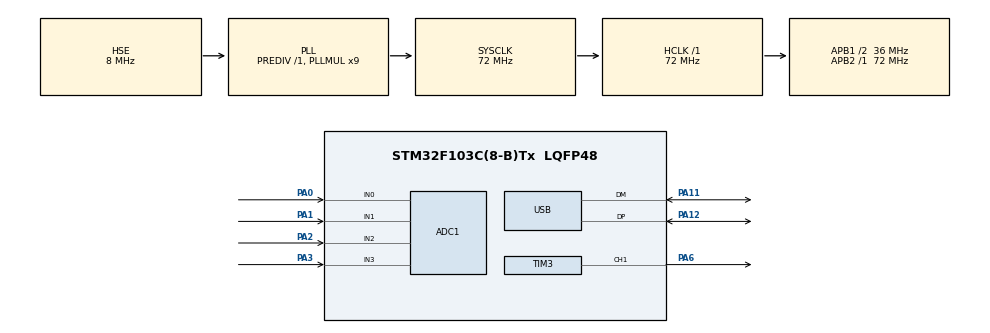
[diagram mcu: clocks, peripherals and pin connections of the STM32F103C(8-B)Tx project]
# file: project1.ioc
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ADC1.Channel-1\#ChannelRegularConversion=ADC_CHANNEL_0
ADC1.Channel-2\#ChannelRegularConversion=ADC_CHANNEL_0
ADC1.Channel-3\#ChannelRegularConversion=ADC_CHANNEL_0
ADC1.ContinuousConvMode=ENABLE
ADC1.DataAlign=ADC_DATAALIGN_RIGHT
ADC1.NbrOfConversion=4
ADC1.NbrOfConversionFlag=1
ADC1.Rank-1\#ChannelRegularConversion=2
ADC1.Rank-2\#ChannelRegularConversion=3
ADC1.Rank-3\#ChannelRegularConversion=4
ADC1.SamplingTime-1\#ChannelRegularConversion=ADC_SAMPLETIME_1CYCLE_5
ADC1.SamplingTime-2\#ChannelRegularConversion=ADC_SAMPLETIME_1CYCLE_5
ADC1.SamplingTime-3\#ChannelRegularConversion=ADC_SAMPLETIME_1CYCLE_5
ADC1.master=1
Dma.ADC1.0.Direction=DMA_PERIPH_TO_MEMORY
Dma.ADC1.0.Instance=DMA1_Channel1
Dma.ADC1.0.MemDataAlignment=DMA_MDATAALIGN_HALFWORD
Dma.ADC1.0.MemInc=DMA_MINC_ENABLE
Dma.ADC1.0.Mode=DMA_CIRCULAR
Dma.ADC1.0.PeriphDataAlignment=DMA_PDATAALIGN_HALFWORD
Dma.ADC1.0.PeriphInc=DMA_PINC_DISABLE
Dma.ADC1.0.Priority=DMA_PRIORITY_LOW
Dma.Request0=ADC1
Dma.Request1=TIM3_CH1/TRIG
Dma.TIM3_CH1/TRIG.1.Direction=DMA_PERIPH_TO_MEMORY
Dma.TIM3_CH1/TRIG.1.Instance=DMA1_Channel6
Dma.TIM3_CH1/TRIG.1.MemDataAlignment=DMA_MDATAALIGN_HALFWORD
Dma.TIM3_CH1/TRIG.1.MemInc=DMA_MINC_ENABLE
Dma.TIM3_CH1/TRIG.1.Mode=DMA_CIRCULAR
Dma.TIM3_CH1/TRIG.1.PeriphDataAlignment=DMA_PDATAALIGN_HALFWORD
Dma.TIM3_CH1/TRIG.1.PeriphInc=DMA_PINC_DISABLE
Dma.TIM3_CH1/TRIG.1.Priority=DMA_PRIORITY_LOW
Mcu.Family=STM32F1
Mcu.Name=STM32F103C(8-B)Tx
Mcu.Package=LQFP48
NVIC.DMA1_Channel1_IRQn=true\:0\:0\:false\:false\:true\:false\:true\:true
NVIC.DMA1_Channel6_IRQn=true\:0\:0\:false\:false\:true\:false\:true\:true
NVIC.PriorityGroup=NVIC_PRIORITYGROUP_4
NVIC.USB_LP_CAN1_RX0_IRQn=true\:0\:0\:false\:false\:true\:false\:true\:true
PA0-WKUP.Signal=ADCx_IN0
PA1.Signal=ADCx_IN1
PA11.Mode=Device
PA11.Signal=USB_DM
PA12.Mode=Device
PA12.Signal=USB_DP
PA13.Mode=Serial_Wire
PA13.Signal=SYS_JTMS-SWDIO
PA14.Mode=Serial_Wire
PA14.Signal=SYS_JTCK-SWCLK
PA2.Signal=ADCx_IN2
PA3.Signal=ADCx_IN3
PA6.Signal=S_TIM3_CH1
PD0-OSC_IN.Mode=HSE-External-Oscillator
PD0-OSC_IN.Signal=RCC_OSC_IN
PD1-OSC_OUT.Mode=HSE-External-Oscillator
PD1-OSC_OUT.Signal=RCC_OSC_OUT
ProjectManager.HeapSize=0x200
ProjectManager.StackSize=0x400
ProjectManager.TargetToolchain=MDK-ARM V5.32
RCC.ADCPresc=RCC_ADCPCLK2_DIV6
RCC.AHBFreq_Value=72000000
RCC.APB1CLKDivider=RCC_HCLK_DIV2
RCC.APB1Freq_Value=36000000
RCC.APB1TimFreq_Value=72000000
RCC.APB2Freq_Value=72000000
RCC.APB2TimFreq_Value=72000000
RCC.HCLKFreq_Value=72000000
RCC.PLLMUL=RCC_PLL_MUL9
RCC.PLLSourceVirtual=RCC_PLLSOURCE_HSE
RCC.SYSCLKFreq_VALUE=72000000
RCC.SYSCLKSource=RCC_SYSCLKSOURCE_PLLCLK
RCC.USBFreq_Value=48000000
RCC.USBPrescaler=RCC_USBCLKSOURCE_PLL_DIV1_5
SH.ADCx_IN0.0=ADC1_IN0,IN0
SH.ADCx_IN1.0=ADC1_IN1,IN1
SH.ADCx_IN2.0=ADC1_IN2,IN2
SH.ADCx_IN3.0=ADC1_IN3,IN3
SH.S_TIM3_CH1.0=TIM3_CH1,PWM Generation1 CH1
TIM3.Channel-PWM\ Generation1\ CH1=TIM_CHANNEL_1
TIM3.Period=255
USB_DEVICE.CLASS_NAME_FS=CDC
USB_DEVICE.VirtualMode=Cdc
USB_DEVICE.VirtualModeFS=Cdc_FS
VP_USB_DEVICE_VS_USB_DEVICE_CDC_FS.Mode=CDC_FS
board=custom

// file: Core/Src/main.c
/* USER CODE BEGIN Header */
/**
  ******************************************************************************
  * @file           : main.c
  * @brief          : Main program body
  ******************************************************************************
  * @attention
  *
  * Copyright (c) 2026 STMicroelectronics.
  * All rights reserved.
  *
  * This software is licensed under terms that can be found in the LICENSE file
  * in the root directory of this software component.
  * If no LICENSE file comes with this software, it is provided AS-IS.
  *
  ******************************************************************************
  */
/* USER CODE END Header */
#include "main.h"
#include "usb_device.h"

/* USER CODE BEGIN Includes */
#include "usbd_cdc_if.h"
#include <math.h>

#ifndef M_PI
#define M_PI 3.14159265358979323846f
#endif

/* USER CODE END Includes */

/* USER CODE BEGIN PTD */
extern TIM_HandleTypeDef htim3;
extern ADC_HandleTypeDef hadc1;

#define ADC_SAMPLES_PER_CH 50
#define TOTAL_ADC_BUFFER (ADC_SAMPLES_PER_CH * 4)
#define WAVE_POINTS 100

// 馃煝 淇锛欰DC鏄?2浣嶇殑锛岀‖楂?DMA 鎼亱蹇呴爤鐢?uint16_t 鎺ユ敹锛岄槻姝㈣鎲堕珨韪╄笍婧㈠嚭锛?
uint16_t adc_buffer[TOTAL_ADC_BUFFER];

// PWM DMA 娉㈠舰绶╄鍗€
uint16_t pwm_wave_buffer[WAVE_POINTS];

// USB 鐧奸€佽▕妗嗙珐琛濆崁 (瑷婃闋?浣嶅厓绲?+ 闀峰害2浣嶅厓绲?+ 鏁告摎)
uint8_t usb_tx_buffer[(TOTAL_ADC_BUFFER * 2) + 5];
volatile uint8_t data_ready_flag = 0; // 馃煝 淇锛氬姞涓?volatile 纰轰繚涓柗鑸囦富寰挵鍚屾

/* USER CODE END PTD */

/* USER CODE BEGIN PD */
// 鈿?鏍稿績鍔熻兘 1锛氭牴鎹笂浣嶆満鎸囦护锛屽姩鎬佽绠楀苟鏇存柊 PWM DMA 鏁扮粍
void Setup_Waveform(uint8_t wave_type, uint16_t freq, uint8_t vpp) {
    float amplitude = vpp / 2.0f; // Vpp 鏄?0-255锛屽搴?0-3.3V
    float offset = 127.5f;        // 1.65V 鐩存祦鍋忕疆涓績鐐?

    // 馃煝 鏍稿績淇锛氫慨姝ｉ鐜囧叕寮忓苟闃叉鏁村瀷涓嬫孩锛?
    // 鐞嗚鍊? PSC + 1 = 72MHz / (256 * 100鐐? / freq = 2812.5 / freq
    uint32_t psc = 0;
    uint32_t target_hz = (freq > 0) ? freq : 1;
    uint32_t calc_psc = 2812 / target_hz;

    if (calc_psc > 0) {
        psc = calc_psc - 1;
    } else {
        psc = 0; // 棰戠巼杩囬珮鏃讹紝灏嗗叾闄愬埗鍦ㄧ‖浠惰兘杈撳嚭鐨勬渶楂橀鐜囷紙绾?.8kHz锛?
    }

    if (psc > 65535) psc = 65535;

    __HAL_TIM_SET_PRESCALER(&htim3, psc);
    htim3.Instance->EGR = TIM_EGR_UG; // 馃煝 鍏抽敭锛氬己鍒朵骇鐢熸洿鏂颁簨浠讹紝璁╂柊鐨勫垎棰戠郴鏁扮珛鍒荤敓鏁堬紝閬垮厤鍗℃

    for (int i = 0; i < WAVE_POINTS; i++) {
        float t = (float)i / WAVE_POINTS;
        float val = 0;

        switch (wave_type) {
            case 0: // 姝ｅ鸡娉?
                val = offset + amplitude * sin(2 * M_PI * t);
                break;
            case 1: // 鏂规尝
                val = offset + amplitude * (t < 0.5f ? 1.0f : -1.0f);
                break;
            case 2: // 涓夎娉?
                val = offset + amplitude * (2.0f * fabs(2.0f * t - 1.0f) - 1.0f);
                break;
            case 3: // 閿娇娉?
                val = offset + amplitude * (2.0f * t - 1.0f);
                break;
            default: // 榛樿鐩存祦
                val = offset;
        }

        // 闄愬埗鍦?0-255 (瀵瑰簲 TIM3 鐨?CCR 鍊?
        if(val > 255) val = 255;
        if(val < 0) val = 0;
        pwm_wave_buffer[i] = (uint16_t)val;
    }
}

// 鈿?鏍稿績鍔熻兘 2锛欰DC DMA 閲囬泦瀹屾垚涓柇鍥炶皟 (鎵撳寘鍙戠粰涓婁綅鏈?
void HAL_ADC_ConvCpltCallback(ADC_HandleTypeDef* hadc) {
    if (hadc->Instance == ADC1) {
        data_ready_flag = 1; // 鏍囧織浣嶇疆 1锛岃涓诲惊鐜鐞?
    }
}
/* USER CODE END PD */

ADC_HandleTypeDef hadc1;
DMA_HandleTypeDef hdma_adc1;

TIM_HandleTypeDef htim3;
DMA_HandleTypeDef hdma_tim3_ch1_trig;

void SystemClock_Config(void);
static void MX_GPIO_Init(void);
static void MX_DMA_Init(void);
static void MX_ADC1_Init(void);
static void MX_TIM3_Init(void);

int main(void)
{

  /* MCU Configuration--------------------------------------------------------*/

  /* Reset of all peripherals, Initializes the Flash interface and the Systick. */
  HAL_Init();

  /* Configure the system clock */
  SystemClock_Config();

  /* Initialize all configured peripherals */
  MX_GPIO_Init();
  MX_DMA_Init();
  MX_ADC1_Init();
  MX_TIM3_Init();
  MX_USB_DEVICE_Init();
  /* USER CODE BEGIN 2 */
  // 1. 鍟熷嫊闋愯ō娉㈠舰
  Setup_Waveform(0, 1000, 255);
 // 馃煝 鏀逛负锛氬惎鍔ㄦ爣鍑嗙殑纭欢 PWM 杈撳嚭
  HAL_TIM_PWM_Start(&htim3, TIM_CHANNEL_1);

  // 馃煝 鏀逛负锛氭墜鍔ㄥ紑鍚?TIM3 鐨勫叏灞€涓柇鍜?NVIC锛堣繖鏍蜂綘涓嶉渶瑕侀噸鏂版墦寮€ CubeMX 鍘诲嬀閫変腑鏂級
  HAL_NVIC_SetPriority(TIM3_IRQn, 1, 0);
  HAL_NVIC_EnableIRQ(TIM3_IRQn);
  HAL_TIM_Base_Start_IT(&htim3); // 寮€鍚畾鏃跺櫒鏇存柊锛堟孩鍑猴級涓柇

  // 2. 寤烘 USB 閫氳▕鍥哄畾褰辨牸闋?
  usb_tx_buffer[0] = 0xAA;
  usb_tx_buffer[1] = 0x55;

  // 馃煝 淇锛氱櫦閫佺殑瀵﹂殯浣嶅厓绲勬暩鏄?鎺℃ǎ榛炴暩 * 2 (400 浣嶅厓绲?
  uint16_t tx_bytes_len = TOTAL_ADC_BUFFER;
  usb_tx_buffer[2] = (tx_bytes_len >> 8) & 0xFF; // Len H
  usb_tx_buffer[3] = tx_bytes_len & 0xFF;        // Len L

  // 3. 鍟熷嫊瀹氭檪鍣ㄨ垏 ADC DMA 鎺冩弿锛堝彧鍛煎彨涓€娆★級
  HAL_TIM_Base_Start(&htim3);
  HAL_ADC_Start_DMA(&hadc1, (uint32_t*)adc_buffer, TOTAL_ADC_BUFFER);
  /* USER CODE END 2 */

  /* Infinite loop */
  /* USER CODE BEGIN WHILE */
  while (1)
  {
    // 馃煝 淇锛氬湪涓诲惊鐠颁腑铏曠悊璩囨枡鐧奸€?
    if (data_ready_flag)
    {
      data_ready_flag = 0; // 娓呴櫎鏃楁

      // 馃煝 淇锛氶厤鍚?Python 涓婁綅鏈哄崗璁紝鍙彂閫?8 浣嶆暟鎹紙灏?12 浣?ADC 鍙崇Щ 4 浣嶅彇楂?8 浣嶏級
      int tx_idx = 4;
      for (int i = 0; i < TOTAL_ADC_BUFFER; i++)
      {
        usb_tx_buffer[tx_idx++] = (adc_buffer[i] >> 4) & 0xFF;
      }

      usb_tx_buffer[tx_idx] = 0x0D; // 鍙€夛細缁撴潫鐮?

      // 馃煝 淇锛氬彂閫侀暱搴︽仮澶嶄负鍘熷鐐规暟 + 5 涓崗璁ご灏惧瓧鑺?
      CDC_Transmit_FS(usb_tx_buffer, TOTAL_ADC_BUFFER + 5);
    }
    /* USER CODE END WHILE */

    /* USER CODE BEGIN 3 */
  }
}

void SystemClock_Config(void)
{
  RCC_OscInitTypeDef RCC_OscInitStruct = {0};
  RCC_ClkInitTypeDef RCC_ClkInitStruct = {0};
  RCC_PeriphCLKInitTypeDef PeriphClkInit = {0};

  /** Initializes the RCC Oscillators according to the specified parameters
  * in the RCC_OscInitTypeDef structure.
  */
  RCC_OscInitStruct.OscillatorType = RCC_OSCILLATORTYPE_HSE;
  RCC_OscInitStruct.HSEState = RCC_HSE_ON;
  RCC_OscInitStruct.HSEPredivValue = RCC_HSE_PREDIV_DIV1;
  RCC_OscInitStruct.HSIState = RCC_HSI_ON;
  RCC_OscInitStruct.PLL.PLLState = RCC_PLL_ON;
  RCC_OscInitStruct.PLL.PLLSource = RCC_PLLSOURCE_HSE;
  RCC_OscInitStruct.PLL.PLLMUL = RCC_PLL_MUL9;
  if (HAL_RCC_OscConfig(&RCC_OscInitStruct) != HAL_OK)
  {
    Error_Handler();
  }

  /** Initializes the CPU, AHB and APB buses clocks
  */
  RCC_ClkInitStruct.ClockType = RCC_CLOCKTYPE_HCLK|RCC_CLOCKTYPE_SYSCLK
                              |RCC_CLOCKTYPE_PCLK1|RCC_CLOCKTYPE_PCLK2;
  RCC_ClkInitStruct.SYSCLKSource = RCC_SYSCLKSOURCE_PLLCLK;
  RCC_ClkInitStruct.AHBCLKDivider = RCC_SYSCLK_DIV1;
  RCC_ClkInitStruct.APB1CLKDivider = RCC_HCLK_DIV2;
  RCC_ClkInitStruct.APB2CLKDivider = RCC_HCLK_DIV1;

  if (HAL_RCC_ClockConfig(&RCC_ClkInitStruct, FLASH_LATENCY_2) != HAL_OK)
  {
    Error_Handler();
  }
  PeriphClkInit.PeriphClockSelection = RCC_PERIPHCLK_ADC|RCC_PERIPHCLK_USB;
  PeriphClkInit.AdcClockSelection = RCC_ADCPCLK2_DIV6;
  PeriphClkInit.UsbClockSelection = RCC_USBCLKSOURCE_PLL_DIV1_5;
  if (HAL_RCCEx_PeriphCLKConfig(&PeriphClkInit) != HAL_OK)
  {
    Error_Handler();
  }
}

static void MX_ADC1_Init(void)
{

  ADC_ChannelConfTypeDef sConfig = {0};

  hadc1.Instance = ADC1;
  hadc1.Init.ScanConvMode = ADC_SCAN_ENABLE;       // 鍟熺敤鎺冩弿妯″紡
  hadc1.Init.ContinuousConvMode = ENABLE;          // 閫ｇ簩杞夋彌
  hadc1.Init.DiscontinuousConvMode = DISABLE;
  hadc1.Init.ExternalTrigConv = ADC_SOFTWARE_START;
  hadc1.Init.DataAlign = ADC_DATAALIGN_RIGHT;
  hadc1.Init.NbrOfConversion = 4;                  // 杞夋彌閫氶亾鏁哥偤 4
  if (HAL_ADC_Init(&hadc1) != HAL_OK)
  {
    Error_Handler();
  }

  /** 馃煝 淇锛氶厤缃?RANK 1 -> Channel 0 (PA0) */
  sConfig.Channel = ADC_CHANNEL_0;
  sConfig.Rank = ADC_REGULAR_RANK_1;
  sConfig.SamplingTime = ADC_SAMPLETIME_1CYCLE_5;
  if (HAL_ADC_ConfigChannel(&hadc1, &sConfig) != HAL_OK) { Error_Handler(); }

  /** 馃煝 淇锛氶厤缃?RANK 2 -> Channel 1 (PA1) */
  sConfig.Channel = ADC_CHANNEL_1;
  sConfig.Rank = ADC_REGULAR_RANK_2;
  if (HAL_ADC_ConfigChannel(&hadc1, &sConfig) != HAL_OK) { Error_Handler(); }

  /** 馃煝 淇锛氶厤缃?RANK 3 -> Channel 2 (PA2) */
  sConfig.Channel = ADC_CHANNEL_2; // 杩欓噷鍘熷厛鍐欓敊浜嗭紝鍐欐垚浜?ADC_CHANNEL_3
  sConfig.Rank = ADC_REGULAR_RANK_3;
  if (HAL_ADC_ConfigChannel(&hadc1, &sConfig) != HAL_OK) { Error_Handler(); }

  /** 馃煝 淇锛氶厤缃?RANK 4 -> Channel 3 (PA3) */
  sConfig.Channel = ADC_CHANNEL_3;
  sConfig.Rank = ADC_REGULAR_RANK_4;
  if (HAL_ADC_ConfigChannel(&hadc1, &sConfig) != HAL_OK) { Error_Handler(); }

}

static void MX_TIM3_Init(void)
{

  TIM_MasterConfigTypeDef sMasterConfig = {0};
  TIM_OC_InitTypeDef sConfigOC = {0};

  htim3.Instance = TIM3;
  htim3.Init.Prescaler = 0;
  htim3.Init.CounterMode = TIM_COUNTERMODE_UP;
  htim3.Init.Period = 255;
  htim3.Init.ClockDivision = TIM_CLOCKDIVISION_DIV1;
  htim3.Init.AutoReloadPreload = TIM_AUTORELOAD_PRELOAD_DISABLE;
  if (HAL_TIM_PWM_Init(&htim3) != HAL_OK)
  {
    Error_Handler();
  }
  sMasterConfig.MasterOutputTrigger = TIM_TRGO_RESET;
  sMasterConfig.MasterSlaveMode = TIM_MASTERSLAVEMODE_DISABLE;
  if (HAL_TIMEx_MasterConfigSynchronization(&htim3, &sMasterConfig) != HAL_OK)
  {
    Error_Handler();
  }
  sConfigOC.OCMode = TIM_OCMODE_PWM1;
  sConfigOC.Pulse = 0;
  sConfigOC.OCPolarity = TIM_OCPOLARITY_HIGH;
  sConfigOC.OCFastMode = TIM_OCFAST_DISABLE;
  if (HAL_TIM_PWM_ConfigChannel(&htim3, &sConfigOC, TIM_CHANNEL_1) != HAL_OK)
  {
    Error_Handler();
  }
  HAL_TIM_MspPostInit(&htim3);

}

static void MX_DMA_Init(void)
{

  /* DMA controller clock enable */
  __HAL_RCC_DMA1_CLK_ENABLE();

  /* DMA interrupt init */
  /* DMA1_Channel1_IRQn interrupt configuration */
  HAL_NVIC_SetPriority(DMA1_Channel1_IRQn, 0, 0);
  HAL_NVIC_EnableIRQ(DMA1_Channel1_IRQn);
  /* DMA1_Channel6_IRQn interrupt configuration */
  HAL_NVIC_SetPriority(DMA1_Channel6_IRQn, 0, 0);
  HAL_NVIC_EnableIRQ(DMA1_Channel6_IRQn);

}

static void MX_GPIO_Init(void)
{

  /* GPIO Ports Clock Enable */
  __HAL_RCC_GPIOD_CLK_ENABLE();
  __HAL_RCC_GPIOA_CLK_ENABLE();

}

/* USER CODE BEGIN 4 */
// 馃煝 淇锛氭墜鍔ㄨˉ鍏?TIM3 涓柇鏈嶅姟鍑芥暟锛岀粫杩?CubeMX 鑷姩鐢熸垚鐨勯檺鍒?
void TIM3_IRQHandler(void)
{
    HAL_TIM_IRQHandler(&htim3);
}

// 馃煝 淇锛氬畾鏃跺櫒姣忓畬鎴愪竴娆″畬鏁寸殑 PWM 鍛ㄦ湡锛堟暟瀹?56涓偣婧㈠嚭锛夛紝瑙﹀彂璇ュ嚱鏁颁竴娆?
void HAL_TIM_PeriodElapsedCallback(TIM_HandleTypeDef *htim)
{
    if (htim->Instance == TIM3)
    {
        static uint16_t wave_idx = 0;

        // 姣忎竴涓?PWM 鍛ㄦ湡锛岀簿鍑嗐€佸畨鍏ㄥ湴灏嗕笅涓€涓尝褰㈢偣鐨勭數鍘嬪€煎啓鍏ユ帶鍒跺瘎瀛樺櫒
        TIM3->CCR1 = pwm_wave_buffer[wave_idx++];

        if (wave_idx >= WAVE_POINTS)
        {
            wave_idx = 0; // 鎾斁瀹屼竴杞尝褰紝鍥炲埌璧风偣寰幆
        }
    }
}
/* USER CODE END 4 */

void Error_Handler(void)
{
  __disable_irq();
  while (1)
  {
  }
}
